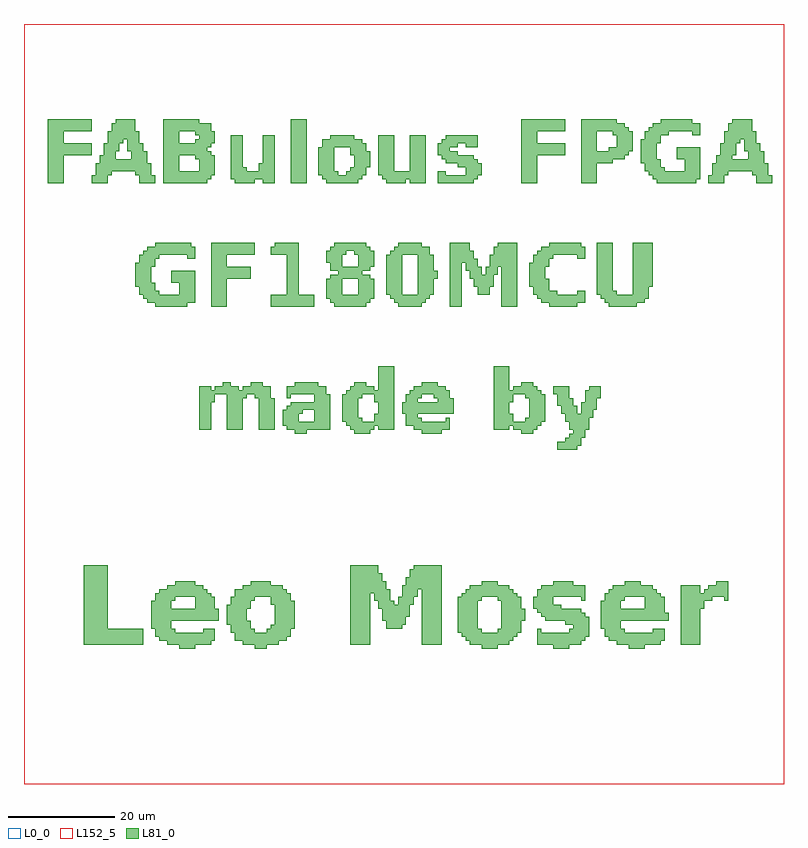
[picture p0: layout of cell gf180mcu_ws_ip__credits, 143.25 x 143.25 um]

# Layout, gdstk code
import gdstk
lib = gdstk.Library(unit=1e-6, precision=1e-09)
def R(c, l, rs):  # rectangles x0, y0, x1, y1
    for r in rs: c.add(gdstk.rectangle(r[:2], r[2:], *l))
def P(c, l, *ps):  # polygons
    for p in ps: c.add(gdstk.Polygon(p, *l))
L0_0 = (0, 0)
L81_0 = (81, 0)
L152_5 = (152, 5)

gf180mcu_ws_ip__credits = lib.new_cell('gf180mcu_ws_ip__credits')
R(gf180mcu_ws_ip__credits, L0_0, [(0,0,143.25,143.25)])
R(gf180mcu_ws_ip__credits, L81_0, [(50.25,113.25,53.25,125.25)])
P(gf180mcu_ws_ip__credits, L81_0, [(29.25,25.5),(29.25,26.25),(27,26.25),(27,27),(25.5,27),(25.5,27.75),(24.75,27.75),(24.75,29.25),(24,29.25),(24,34.5),(24.75,34.5),(24.75,35.25),(28.5,35.25),(28.5,34.5),(27.75,34.5),(27.75,33),(32.25,33),(32.25,35.25),(24.75,35.25),(24.75,36),(25.5,36),(25.5,36.75),(27,36.75),(27,37.5),(28.5,37.5),(28.5,38.25),(32.25,38.25),(32.25,37.5),(33.75,37.5),(33.75,36.75),(34.5,36.75),(34.5,36),(35.25,36),(35.25,35.25),(36,35.25),(36,33),(36.75,33),(36.75,30.75),(27.75,30.75),(27.75,29.25),(28.5,29.25),(28.5,28.5),(33.75,28.5),(33.75,29.25),(36,29.25),(36,27),(35.25,27),(35.25,26.25),(32.25,26.25),(32.25,25.5)],
  [(43.5,25.5),(43.5,26.25),(41.25,26.25),(41.25,27),(39.75,27),(39.75,28.5),(39,28.5),(39,30),(38.25,30),(38.25,33.75),(39,33.75),(39,35.25),(43.5,35.25),(43.5,34.5),(42.75,34.5),(42.75,33),(42,33),(42,30.75),(42.75,30.75),(42.75,29.25),(43.5,29.25),(43.5,28.5),(45.75,28.5),(45.75,29.25),(46.5,29.25),(46.5,30),(47.25,30),(47.25,33.75),(46.5,33.75),(46.5,35.25),(39.75,35.25),(39.75,36.75),(41.25,36.75),(41.25,37.5),(42.75,37.5),(42.75,38.25),(46.5,38.25),(46.5,37.5),(48.75,37.5),(48.75,36.75),(49.5,36.75),(49.5,36),(50.25,36),(50.25,34.5),(51,34.5),(51,29.25),(50.25,29.25),(50.25,27.75),(49.5,27.75),(49.5,27),(48,27),(48,26.25),(45.75,26.25),(45.75,25.5)],
  [(86.25,25.5),(86.25,26.25),(84,26.25),(84,27),(83.25,27),(83.25,27.75),(82.5,27.75),(82.5,28.5),(81.75,28.5),(81.75,35.25),(86.25,35.25),(86.25,34.5),(85.5,34.5),(85.5,29.25),(86.25,29.25),(86.25,28.5),(89.25,28.5),(89.25,29.25),(90,29.25),(90,34.5),(89.25,34.5),(89.25,35.25),(82.5,35.25),(82.5,36),(83.25,36),(83.25,36.75),(84,36.75),(84,37.5),(86.25,37.5),(86.25,38.25),(89.25,38.25),(89.25,37.5),(91.5,37.5),(91.5,36.75),(92.25,36.75),(92.25,36),(93,36),(93,35.25),(93.75,35.25),(93.75,33),(94.5,33),(94.5,30.75),(93.75,30.75),(93.75,28.5),(93,28.5),(93,27.75),(92.25,27.75),(92.25,27),(91.5,27),(91.5,26.25),(89.25,26.25),(89.25,25.5)],
  [(99.75,25.5),(99.75,26.25),(96.75,26.25),(96.75,29.25),(97.5,29.25),(97.5,28.5),(102.75,28.5),(102.75,29.25),(103.5,29.25),(103.5,30),(102,30),(102,30.75),(98.25,30.75),(98.25,31.5),(97.5,31.5),(97.5,32.25),(96.75,32.25),(96.75,33),(96,33),(96,35.25),(96.75,35.25),(96.75,36.75),(97.5,36.75),(97.5,37.5),(99.75,37.5),(99.75,38.25),(103.5,38.25),(103.5,37.5),(105.75,37.5),(105.75,34.5),(105,34.5),(105,35.25),(99.75,35.25),(99.75,33.75),(101.25,33.75),(101.25,33),(105,33),(105,32.25),(105.75,32.25),(105.75,31.5),(106.5,31.5),(106.5,27.75),(105.75,27.75),(105.75,27),(105,27),(105,26.25),(102.75,26.25),(102.75,25.5)],
  [(114,25.5),(114,26.25),(111.75,26.25),(111.75,27),(110.25,27),(110.25,27.75),(109.5,27.75),(109.5,29.25),(108.75,29.25),(108.75,34.5),(109.5,34.5),(109.5,35.25),(113.25,35.25),(113.25,34.5),(112.5,34.5),(112.5,33),(117,33),(117,35.25),(109.5,35.25),(109.5,36),(110.25,36),(110.25,36.75),(111,36.75),(111,37.5),(113.25,37.5),(113.25,38.25),(116.25,38.25),(116.25,37.5),(118.5,37.5),(118.5,36.75),(119.25,36.75),(119.25,36),(120,36),(120,35.25),(120.75,35.25),(120.75,32.25),(121.5,32.25),(121.5,30.75),(112.5,30.75),(112.5,29.25),(113.25,29.25),(113.25,28.5),(118.5,28.5),(118.5,29.25),(120.75,29.25),(120.75,27),(120,27),(120,26.25),(117,26.25),(117,25.5)],
  [(123.75,26.25),(123.75,37.5),(127.5,37.5),(127.5,36),(128.25,36),(128.25,36.75),(129,36.75),(129,37.5),(130.5,37.5),(130.5,38.25),(132.75,38.25),(132.75,34.5),(132,34.5),(132,35.25),(129.75,35.25),(129.75,34.5),(128.25,34.5),(128.25,33),(127.5,33),(127.5,26.25)],
  [(11.25,26.25),(11.25,41.25),(15.75,41.25),(15.75,29.25),(22.5,29.25),(22.5,26.25)],
  [(61.5,26.25),(61.5,41.25),(66.75,41.25),(66.75,39.75),(67.5,39.75),(67.5,38.25),(68.25,38.25),(68.25,36.75),(69,36.75),(69,34.5),(69.75,34.5),(69.75,33.75),(70.5,33.75),(70.5,35.25),(71.25,35.25),(71.25,37.5),(72,37.5),(72,39),(72.75,39),(72.75,40.5),(73.5,40.5),(73.5,41.25),(78.75,41.25),(78.75,26.25),(75,26.25),(75,36.75),(74.25,36.75),(74.25,35.25),(73.5,35.25),(73.5,33.75),(72.75,33.75),(72.75,31.5),(72,31.5),(72,30),(71.25,30),(71.25,29.25),(68.25,29.25),(68.25,30.75),(67.5,30.75),(67.5,33),(66.75,33),(66.75,34.5),(66,34.5),(66,36),(65.25,36),(65.25,26.25)],
  [(100.5,63),(100.5,64.5),(102,64.5),(102,65.25),(102.75,65.25),(102.75,66),(103.5,66),(103.5,66.75),(102.75,66.75),(102.75,68.25),(102,68.25),(102,69.75),(101.25,69.75),(101.25,71.25),(100.5,71.25),(100.5,73.5),(99.75,73.5),(99.75,75),(102.75,75),(102.75,72.75),(103.5,72.75),(103.5,71.25),(104.25,71.25),(104.25,69.75),(105,69.75),(105,72),(105.75,72),(105.75,74.25),(106.5,74.25),(106.5,75),(108.75,75),(108.75,72.75),(108,72.75),(108,70.5),(107.25,70.5),(107.25,69),(106.5,69),(106.5,66.75),(105.75,66.75),(105.75,65.25),(105,65.25),(105,63.75),(104.25,63.75),(104.25,63)],
  [(33,66.75),(33,75),(35.25,75),(35.25,74.25),(36,74.25),(36,75),(37.5,75),(37.5,75.75),(39,75.75),(39,75),(40.5,75),(40.5,74.25),(41.25,74.25),(41.25,75),(42.75,75),(42.75,75.75),(45,75.75),(45,75),(46.5,75),(46.5,72.75),(47.25,72.75),(47.25,66.75),(44.25,66.75),(44.25,72.75),(43.5,72.75),(43.5,73.5),(42,73.5),(42,72.75),(41.25,72.75),(41.25,66.75),(38.25,66.75),(38.25,73.5),(36,73.5),(36,72),(35.25,72),(35.25,66.75)],
  [(51,66),(51,66.75),(49.5,66.75),(49.5,67.5),(48.75,67.5),(48.75,70.5),(52.5,70.5),(52.5,69.75),(51.75,69.75),(51.75,68.25),(54.75,68.25),(54.75,70.5),(49.5,70.5),(49.5,71.25),(50.25,71.25),(50.25,72),(54.75,72),(54.75,73.5),(50.25,73.5),(50.25,72.75),(49.5,72.75),(49.5,75),(51,75),(51,75.75),(55.5,75.75),(55.5,75),(57,75),(57,73.5),(57.75,73.5),(57.75,66.75),(53.25,66.75),(53.25,66)],
  [(75,66),(75,66.75),(73.5,66.75),(73.5,67.5),(72,67.5),(72,69.75),(71.25,69.75),(71.25,72),(72,72),(72,73.5),(75,73.5),(75,72.75),(74.25,72.75),(74.25,72),(78,72),(78,72.75),(77.25,72.75),(77.25,73.5),(72.75,73.5),(72.75,74.25),(73.5,74.25),(73.5,75),(75,75),(75,75.75),(78,75.75),(78,75),(79.5,75),(79.5,74.25),(80.25,74.25),(80.25,72.75),(81,72.75),(81,69.75),(74.25,69.75),(74.25,69),(75,69),(75,68.25),(79.5,68.25),(79.5,69),(80.25,69),(80.25,66.75),(78.75,66.75),(78.75,66)],
  [(62.25,66),(62.25,66.75),(61.5,66.75),(61.5,67.5),(60.75,67.5),(60.75,68.25),(60,68.25),(60,73.5),(63.75,73.5),(63.75,72.75),(63,72.75),(63,69),(63.75,69),(63.75,68.25),(66,68.25),(66,69.75),(66.75,69.75),(66.75,72),(66,72),(66,73.5),(60.75,73.5),(60.75,74.25),(61.5,74.25),(61.5,75),(62.25,75),(62.25,75.75),(64.5,75.75),(64.5,75),(66,75),(66,74.25),(66.75,74.25),(66.75,78.75),(69.75,78.75),(69.75,66.75),(66.75,66.75),(66.75,67.5),(66,67.5),(66,66.75),(65.25,66.75),(65.25,66)],
  [(93.75,66),(93.75,66.75),(92.25,66.75),(92.25,67.5),(91.5,67.5),(91.5,66.75),(88.5,66.75),(88.5,73.5),(92.25,73.5),(92.25,72),(91.5,72),(91.5,69.75),(92.25,69.75),(92.25,68.25),(94.5,68.25),(94.5,69),(95.25,69),(95.25,72.75),(94.5,72.75),(94.5,73.5),(88.5,73.5),(88.5,78.75),(91.5,78.75),(91.5,74.25),(92.25,74.25),(92.25,75),(93.75,75),(93.75,75.75),(96,75.75),(96,75),(96.75,75),(96.75,74.25),(97.5,74.25),(97.5,73.5),(98.25,73.5),(98.25,68.25),(97.5,68.25),(97.5,67.5),(96.75,67.5),(96.75,66.75),(96,66.75),(96,66)],
  [(24.75,90),(24.75,90.75),(23.25,90.75),(23.25,91.5),(22.5,91.5),(22.5,92.25),(21.75,92.25),(21.75,93.75),(21,93.75),(21,98.25),(21.75,98.25),(21.75,99.75),(22.5,99.75),(22.5,100.5),(23.25,100.5),(23.25,101.25),(24.75,101.25),(24.75,102),(31.5,102),(31.5,101.25),(32.25,101.25),(32.25,99),(30.75,99),(30.75,99.75),(25.5,99.75),(25.5,99),(24.75,99),(24.75,97.5),(24,97.5),(24,94.5),(24.75,94.5),(24.75,93),(25.5,93),(25.5,92.25),(29.25,92.25),(29.25,94.5),(27.75,94.5),(27.75,96.75),(32.25,96.75),(32.25,90.75),(30.75,90.75),(30.75,90)],
  [(35.25,90),(35.25,102),(43.5,102),(43.5,99.75),(38.25,99.75),(38.25,97.5),(42.75,97.5),(42.75,95.25),(38.25,95.25),(38.25,90)],
  [(46.5,90),(46.5,92.25),(49.5,92.25),(49.5,99.75),(46.5,99.75),(46.5,101.25),(47.25,101.25),(47.25,102),(51.75,102),(51.75,92.25),(54.75,92.25),(54.75,90)],
  [(58.5,90),(58.5,90.75),(57.75,90.75),(57.75,91.5),(57,91.5),(57,95.25),(60,95.25),(60,92.25),(63,92.25),(63,95.25),(57.75,95.25),(57.75,96),(59.25,96),(59.25,96.75),(57.75,96.75),(57.75,98.25),(57,98.25),(57,100.5),(60.75,100.5),(60.75,99.75),(60,99.75),(60,97.5),(63,97.5),(63,99.75),(62.25,99.75),(62.25,100.5),(57.75,100.5),(57.75,101.25),(58.5,101.25),(58.5,102),(64.5,102),(64.5,101.25),(65.25,101.25),(65.25,100.5),(66,100.5),(66,97.5),(65.25,97.5),(65.25,96.75),(63.75,96.75),(63.75,96),(65.25,96),(65.25,95.25),(66,95.25),(66,91.5),(65.25,91.5),(65.25,90.75),(64.5,90.75),(64.5,90)],
  [(70.5,90),(70.5,90.75),(69.75,90.75),(69.75,91.5),(69,91.5),(69,92.25),(68.25,92.25),(68.25,99.75),(71.25,99.75),(71.25,92.25),(74.25,92.25),(74.25,99.75),(69,99.75),(69,100.5),(69.75,100.5),(69.75,101.25),(70.5,101.25),(70.5,102),(75,102),(75,101.25),(76.5,101.25),(76.5,99.75),(77.25,99.75),(77.25,96.75),(78,96.75),(78,95.25),(77.25,95.25),(77.25,92.25),(76.5,92.25),(76.5,91.5),(75.75,91.5),(75.75,90.75),(75,90.75),(75,90)],
  [(80.25,90),(80.25,102),(84,102),(84,100.5),(84.75,100.5),(84.75,99),(85.5,99),(85.5,97.5),(86.25,97.5),(86.25,96),(87,96),(87,97.5),(87.75,97.5),(87.75,99.75),(88.5,99.75),(88.5,101.25),(89.25,101.25),(89.25,102),(93,102),(93,90),(90,90),(90,97.5),(89.25,97.5),(89.25,96),(88.5,96),(88.5,93.75),(87.75,93.75),(87.75,92.25),(85.5,92.25),(85.5,93.75),(84.75,93.75),(84.75,95.25),(84,95.25),(84,96.75),(83.25,96.75),(83.25,98.25),(82.5,98.25),(82.5,90)],
  [(99,90),(99,90.75),(97.5,90.75),(97.5,91.5),(96.75,91.5),(96.75,92.25),(96,92.25),(96,93.75),(95.25,93.75),(95.25,98.25),(96,98.25),(96,99.75),(96.75,99.75),(96.75,100.5),(97.5,100.5),(97.5,101.25),(99,101.25),(99,102),(105,102),(105,101.25),(105.75,101.25),(105.75,99),(104.25,99),(104.25,99.75),(99.75,99.75),(99.75,99),(99,99),(99,97.5),(98.25,97.5),(98.25,95.25),(99,95.25),(99,93),(100.5,93),(100.5,92.25),(104.25,92.25),(104.25,93),(105.75,93),(105.75,90.75),(104.25,90.75),(104.25,90)],
  [(110.25,90),(110.25,90.75),(109.5,90.75),(109.5,91.5),(108.75,91.5),(108.75,92.25),(108,92.25),(108,102),(111,102),(111,93),(111.75,93),(111.75,92.25),(114.75,92.25),(114.75,102),(118.5,102),(118.5,93.75),(117.75,93.75),(117.75,91.5),(117,91.5),(117,90.75),(115.5,90.75),(115.5,90)],
  [(39.75,113.25),(39.75,114),(39,114),(39,122.25),(41.25,122.25),(41.25,116.25),(42,116.25),(42,115.5),(44.25,115.5),(44.25,117),(45,117),(45,122.25),(47.25,122.25),(47.25,113.25),(45,113.25),(45,114),(43.5,114),(43.5,113.25)],
  [(57,113.25),(57,114),(56.25,114),(56.25,114.75),(55.5,114.75),(55.5,120),(58.5,120),(58.5,115.5),(59.25,115.5),(59.25,114.75),(60.75,114.75),(60.75,115.5),(61.5,115.5),(61.5,116.25),(62.25,116.25),(62.25,118.5),(61.5,118.5),(61.5,120),(56.25,120),(56.25,121.5),(57.75,121.5),(57.75,122.25),(62.25,122.25),(62.25,121.5),(63.75,121.5),(63.75,120.75),(64.5,120.75),(64.5,119.25),(65.25,119.25),(65.25,116.25),(64.5,116.25),(64.5,114.75),(63.75,114.75),(63.75,114),(63,114),(63,113.25)],
  [(68.25,113.25),(68.25,114),(67.5,114),(67.5,114.75),(66.75,114.75),(66.75,122.25),(69.75,122.25),(69.75,115.5),(72.75,115.5),(72.75,122.25),(75.75,122.25),(75.75,113.25),(72.75,113.25),(72.75,114),(72,114),(72,113.25)],
  [(78,113.25),(78,115.5),(79.5,115.5),(79.5,114.75),(83.25,114.75),(83.25,116.25),(81.75,116.25),(81.75,117),(79.5,117),(79.5,117.75),(78.75,117.75),(78.75,118.5),(78,118.5),(78,120.75),(78.75,120.75),(78.75,121.5),(79.5,121.5),(79.5,122.25),(85.5,122.25),(85.5,120),(83.25,120),(83.25,120.75),(81.75,120.75),(81.75,120),(80.25,120),(80.25,119.25),(81.75,119.25),(81.75,118.5),(84.75,118.5),(84.75,117.75),(85.5,117.75),(85.5,117),(86.25,117),(86.25,114.75),(85.5,114.75),(85.5,114),(84.75,114),(84.75,113.25)],
  [(4.5,113.25),(4.5,125.25),(12.75,125.25),(12.75,123),(7.5,123),(7.5,120.75),(12.75,120.75),(12.75,118.5),(7.5,118.5),(7.5,113.25)],
  [(12.75,113.25),(12.75,114.75),(13.5,114.75),(13.5,117),(14.25,117),(14.25,118.5),(15,118.5),(15,120.75),(15.75,120.75),(15.75,121.5),(18.75,121.5),(18.75,120.75),(18,120.75),(18,119.25),(17.25,119.25),(17.25,117.75),(20.25,117.75),(20.25,119.25),(19.5,119.25),(19.5,121.5),(15.75,121.5),(15.75,123),(16.5,123),(16.5,124.5),(17.25,124.5),(17.25,125.25),(21,125.25),(21,123),(21.75,123),(21.75,120.75),(22.5,120.75),(22.5,119.25),(23.25,119.25),(23.25,117),(24,117),(24,114.75),(24.75,114.75),(24.75,113.25),(21.75,113.25),(21.75,114.75),(21,114.75),(21,115.5),(16.5,115.5),(16.5,114.75),(15.75,114.75),(15.75,113.25)],
  [(26.25,113.25),(26.25,118.5),(29.25,118.5),(29.25,115.5),(33,115.5),(33,117.75),(32.25,117.75),(32.25,118.5),(26.25,118.5),(26.25,123),(29.25,123),(29.25,120.75),(32.25,120.75),(32.25,121.5),(33,121.5),(33,122.25),(32.25,122.25),(32.25,123),(26.25,123),(26.25,125.25),(33,125.25),(33,124.5),(35.25,124.5),(35.25,123),(36,123),(36,120.75),(35.25,120.75),(35.25,120),(34.5,120),(34.5,119.25),(35.25,119.25),(35.25,118.5),(36,118.5),(36,114.75),(35.25,114.75),(35.25,114),(34.5,114),(34.5,113.25)],
  [(93.75,113.25),(93.75,125.25),(102,125.25),(102,123),(96.75,123),(96.75,120.75),(102,120.75),(102,118.5),(96.75,118.5),(96.75,113.25)],
  [(105,113.25),(105,123),(108,123),(108,119.25),(110.25,119.25),(110.25,120),(111.75,120),(111.75,122.25),(111,122.25),(111,123),(105,123),(105,125.25),(111.75,125.25),(111.75,124.5),(113.25,124.5),(113.25,123.75),(114,123.75),(114,123),(114.75,123),(114.75,119.25),(114,119.25),(114,118.5),(113.25,118.5),(113.25,117.75),(111,117.75),(111,117),(108,117),(108,113.25)],
  [(119.25,113.25),(119.25,114),(118.5,114),(118.5,114.75),(117.75,114.75),(117.75,115.5),(117,115.5),(117,117),(116.25,117),(116.25,121.5),(117,121.5),(117,123),(117.75,123),(117.75,123.75),(118.5,123.75),(118.5,124.5),(120,124.5),(120,125.25),(126,125.25),(126,124.5),(127.5,124.5),(127.5,122.25),(126,122.25),(126,123),(121.5,123),(121.5,122.25),(120,122.25),(120,120.75),(119.25,120.75),(119.25,117.75),(120,117.75),(120,116.25),(120.75,116.25),(120.75,115.5),(124.5,115.5),(124.5,117.75),(123,117.75),(123,120),(127.5,120),(127.5,114),(126.75,114),(126.75,113.25)],
  [(129,113.25),(129,114.75),(129.75,114.75),(129.75,117),(130.5,117),(130.5,118.5),(131.25,118.5),(131.25,120.75),(132,120.75),(132,121.5),(135,121.5),(135,120.75),(134.25,120.75),(134.25,118.5),(133.5,118.5),(133.5,117.75),(136.5,117.75),(136.5,119.25),(135.75,119.25),(135.75,121.5),(132,121.5),(132,123),(132.75,123),(132.75,124.5),(133.5,124.5),(133.5,125.25),(137.25,125.25),(137.25,123),(138,123),(138,120.75),(138.75,120.75),(138.75,119.25),(139.5,119.25),(139.5,117),(140.25,117),(140.25,114.75),(141,114.75),(141,113.25),(138,113.25),(138,114.75),(137.25,114.75),(137.25,115.5),(132.75,115.5),(132.75,114.75),(132,114.75),(132,113.25)])
R(gf180mcu_ws_ip__credits, L152_5, [(0,0,143.25,143.25)])

lib.write_gds('gf180mcu_ws_ip__credits.gds')
